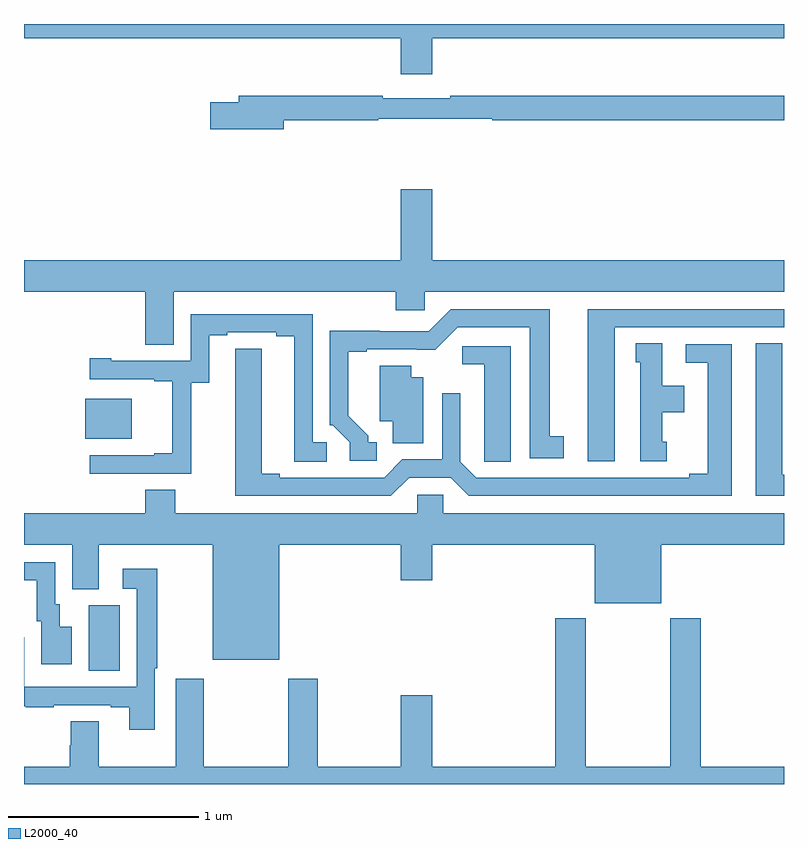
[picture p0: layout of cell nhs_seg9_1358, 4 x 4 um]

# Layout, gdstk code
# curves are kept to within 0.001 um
import gdstk
lib = gdstk.Library(unit=1e-6, precision=1e-09)
def R(c, l, rs):  # rectangles x0, y0, x1, y1
    for r in rs: c.add(gdstk.rectangle(r[:2], r[2:], *l))
def P(c, l, *ps):  # polygons
    for p in ps: c.add(gdstk.Polygon(p, *l))
L2000_40 = (2000, 40)

nhs_seg9_1358 = lib.new_cell('nhs_seg9_1358')
R(nhs_seg9_1358, L2000_40, [(187.34,1189.096,187.504,1189.44), (187.322,1190.318,187.567,1190.527)])
P(nhs_seg9_1358, L2000_40, [(189.148,1192.424),(191,1192.424),(191,1192.5),(187,1192.5),(187,1192.424),(188.984,1192.424),(188.984,1192.236),(189.148,1192.236)],
  [(188.368,1191.994),(188.864,1191.994),(188.864,1192.002),(189.464,1192.002),(189.464,1191.994),(191,1191.994),(191,1192.123),(189.244,1192.123),(189.244,1192.11),(188.888,1192.11),(188.888,1192.123),(188.129,1192.123),(188.129,1192.089),(187.98,1192.089),(187.98,1191.947),(188.368,1191.947)],
  [(187.789,1191.092),(188.957,1191.092),(188.957,1190.994),(189.108,1190.994),(189.108,1191.092),(191,1191.092),(191,1191.256),(189.148,1191.256),(189.148,1191.631),(188.984,1191.631),(188.984,1191.256),(187,1191.256),(187,1191.092),(187.637,1191.092),(187.637,1190.812),(187.789,1190.812)],
  [(188.857,1190.298),(188.812,1190.298),(188.812,1190.333),(188.707,1190.438),(188.707,1190.775),(188.803,1190.775),(188.803,1190.787),(189.164,1190.786),(189.282,1190.904),(189.662,1190.904),(189.662,1190.214),(189.841,1190.214),(189.841,1190.33),(189.766,1190.33),(189.766,1191),(189.246,1191),(189.129,1190.883),(188.873,1190.883),(188.873,1190.885),(188.61,1190.885),(188.61,1190.388),(188.625,1190.388),(188.715,1190.298),(188.715,1190.202),(188.857,1190.202)],
  [(190.108,1190.904),(191,1190.904),(191,1191),(189.968,1191),(189.968,1190.199),(190.108,1190.199)],
  [(187.881,1190.611),(187.975,1190.611),(187.975,1190.862),(188.071,1190.862),(188.071,1190.877),(188.327,1190.877),(188.327,1190.857),(188.423,1190.857),(188.423,1190.197),(188.593,1190.197),(188.593,1190.298),(188.52,1190.298),(188.52,1190.973),(187.878,1190.973),(187.878,1190.727),(187.459,1190.727),(187.459,1190.74),(187.347,1190.74),(187.347,1190.631),(187.685,1190.631),(187.685,1190.619),(187.781,1190.619),(187.781,1190.242),(187.685,1190.242),(187.685,1190.229),(187.347,1190.229),(187.347,1190.133),(187.881,1190.133)],
  [(190.384,1190.301),(190.36,1190.301),(190.36,1190.456),(190.474,1190.456),(190.474,1190.596),(190.36,1190.596),(190.36,1190.819),(190.22,1190.819),(190.22,1190.721),(190.244,1190.721),(190.244,1190.199),(190.384,1190.199)],
  [(191,1190.127),(190.99,1190.127),(190.99,1190.819),(190.85,1190.819),(190.85,1190.016),(191,1190.016)],
  [(189.027,1190.112),(189.245,1190.112),(189.341,1190.016),(190.726,1190.016),(190.726,1190.814),(190.482,1190.814),(190.482,1190.718),(190.598,1190.718),(190.598,1190.132),(190.502,1190.132),(190.502,1190.112),(189.381,1190.112),(189.297,1190.196),(189.297,1190.557),(189.201,1190.557),(189.201,1190.208),(188.991,1190.208),(188.895,1190.112),(188.347,1190.112),(188.347,1190.132),(188.251,1190.132),(188.251,1190.792),(188.112,1190.792),(188.111,1190.016),(188.931,1190.016)],
  [(189.562,1190.805),(189.306,1190.805),(189.306,1190.708),(189.422,1190.708),(189.422,1190.305),(189.423,1190.305),(189.423,1190.197),(189.562,1190.197)],
  [(189.1,1190.641),(189.037,1190.641),(189.037,1190.702),(188.873,1190.702),(188.873,1190.408),(188.942,1190.408),(188.942,1190.293),(189.1,1190.293)],
  [(188.344,1189.76),(188.984,1189.76),(188.984,1189.572),(189.148,1189.572),(189.148,1189.76),(190.004,1189.76),(190.004,1189.451),(190.354,1189.451),(190.354,1189.76),(191,1189.76),(191,1189.924),(189.207,1189.924),(189.207,1190.022),(189.069,1190.022),(189.069,1189.924),(187.797,1189.924),(187.797,1190.048),(187.637,1190.048),(187.637,1189.924),(187,1189.924),(187,1189.76),(187.253,1189.76),(187.253,1189.525),(187.393,1189.525),(187.393,1189.76),(187.994,1189.76),(187.994,1189.154),(188.344,1189.154)],
  [(187.252,1189.327),(187.189,1189.327),(187.189,1189.446),(187.164,1189.446),(187.164,1189.668),(187,1189.668),(187,1189.572),(187.067,1189.572),(187.067,1189.356),(187.091,1189.356),(187.091,1189.131),(187.252,1189.131)],
  [(187.689,1189.108),(187.702,1189.108),(187.702,1189.633),(187.521,1189.633),(187.521,1189.527),(187.593,1189.527),(187.593,1189.011),(187.002,1189.011),(187.002,1189.273),(187,1189.273),(187,1188.909),(187.009,1188.909),(187.009,1188.903),(187.157,1188.903),(187.157,1188.915),(187.457,1188.915),(187.457,1188.903),(187.553,1188.903),(187.553,1188.786),(187.689,1188.786)],
  [(191,1188.592),(190.562,1188.592),(190.562,1189.372),(190.402,1189.372),(190.402,1188.592),(189.957,1188.592),(189.957,1189.372),(189.797,1189.372),(189.797,1188.592),(189.148,1188.592),(189.148,1188.967),(188.984,1188.967),(188.984,1188.592),(188.547,1188.592),(188.547,1189.054),(188.392,1189.054),(188.392,1188.592),(187.947,1188.592),(187.947,1189.054),(187.799,1189.054),(187.799,1188.592),(187.393,1188.592),(187.393,1188.83),(187.246,1188.83),(187.246,1188.705),(187.241,1188.705),(187.241,1188.592),(187,1188.592),(187,1188.5),(191,1188.5)])

lib.write_gds('nhs_seg9_1358.gds')
